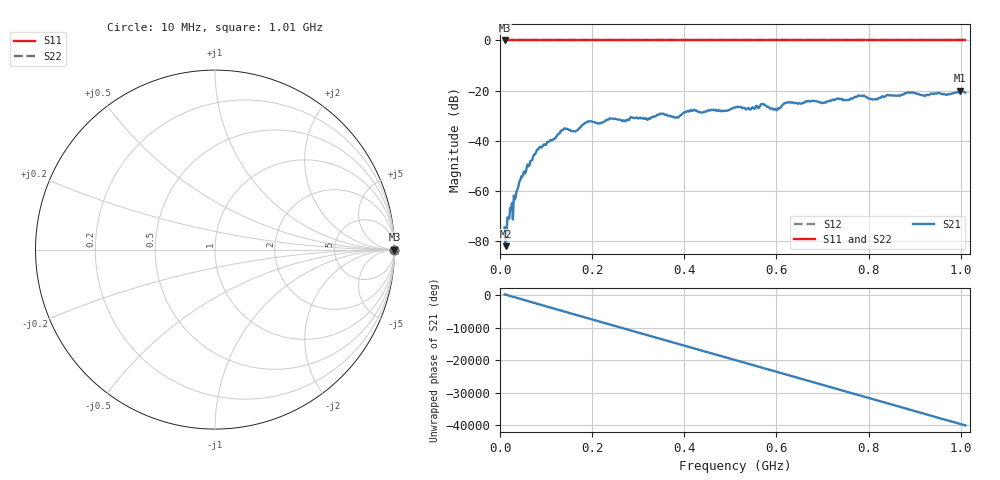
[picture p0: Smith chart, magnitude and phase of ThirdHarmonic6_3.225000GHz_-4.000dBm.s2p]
! 8/17/2025 9:51:22 AM
! C:\ANRITSUVNA\TEMP\TEMP.S2P
! CHANNEL.1
! TR.MEASUREMENT
! RAW.DATA
! RF.CORRECTION.OFF
! AVERAGING.OFF
! IF.BANDWIDTH: 5KHZ
! SWEEPTYPE:  FREQ.SWEEP(Linear)
! Reference Plane Port Info
! PORT:  PORT1  PORT2
! DISTANCE:  0  m  0  m
! TIME:  0  s  0  s
! PHASE.OFFSET:  0  deg.  0  deg.
! LOSS:  0  dB  0  dB
! REF.LOSS:  0  dB  0  dB
! REF.FREQ:  0  Hz  0  Hz
! Power Info
! POWER:  -20  dBm  -20  dBm
! EFF.POWER:  -20  dBm  -20  dBm
! SOURCE.ATTEN:  0  dB  0  dB
! TEST.ATTEN:  0  dB  0  dB
# GHZ S RI R 50.0
! FREQ.GHZ  S11RE  S11IM  S21RE  S21IM  S12RE  S12IM  S22RE  S22IM
!; PortSelection: Port_12
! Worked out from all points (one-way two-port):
!   501 points, 10 MHz to 1.01 GHz, reference 50 ohm
!   highest |S21| = -20.00 dB at 998 MHz (marker M1); lowest = -81.9 dB at 12 MHz (marker M2)
!   lowest |S11| = 0.0 dB at 10 MHz (marker M3)
!   |S11| at or under -10 dB: nowhere
!   |S22| runs from 0.0 to 0.0 dB; largest |S21 - S12| = 1.1
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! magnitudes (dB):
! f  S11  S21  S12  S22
! 10 MHz  0.0  -74.4  0.0  0.0
! 12 MHz  0.0  -81.9  0.0  0.0
! 16 MHz  0.0  -70.4  0.0  0.0
! 20 MHz  0.0  -70.9  0.0  0.0
! 32 MHz  0.0  -63.3  0.0  0.0
! 44 MHz  0.0  -55.6  0.0  0.0
! 82 MHz  0.0  -43.3  0.0  0.0
! 136 MHz  0.0  -35.7  0.0  0.0
! 162 MHz  0.0  -36.1  0.0  0.0
! 178 MHz  0.0  -33.7  0.0  0.0
! 194 MHz  0.0  -32.1  0.0  0.0
! 344 MHz  0.0  -29.6  0.0  0.0
! 382 MHz  0.0  -30.7  0.0  0.0
! 410 MHz  0.0  -28.3  0.0  0.0
! 510 MHz  0.0  -26.7  0.0  0.0
! 570 MHz  0.0  -25.3  0.0  0.0
! 598 MHz  0.0  -27.4  0.0  0.0
! 624 MHz  0.0  -24.7  0.0  0.0
! 678 MHz  0.0  -24.0  0.0  0.0
! 844 MHz  0.0  -21.8  0.0  0.0
! 998 MHz  0.0  -20.0  0.0  0.0
! 1.01 GHz  0.0  -20.7  0.0  0.0
